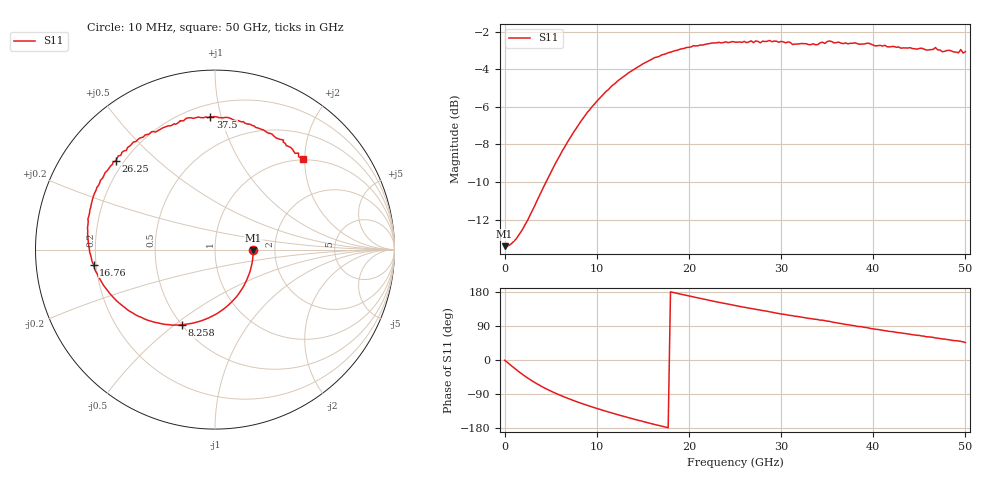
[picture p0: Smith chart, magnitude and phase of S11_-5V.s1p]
!Agilent Technologies,N5227A,US51270434,A.10.00.00
!Agilent N5227A: A.10.00.00
!Date: Thursday, February 26, 2026 12:00:48
!Correction: S11(Full 1 Port(1))
!S1P File: Measurement: S11:
# Hz S  dB  R 50
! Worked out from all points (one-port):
!   201 points, 10 MHz to 50 GHz, reference 50 ohm
!   lowest |S11| = -13.4 dB at 10 MHz (marker M1), VSWR 1.54, Z = 77.2 - j0.482 ohm
!   |S11| at or under -10 dB: start of sweep to 4.505 GHz
!   S11 on the Smith chart (normalised r, x): 10 MHz: 1.54, -0.01; 8.258 GHz: 0.50, -0.53; 16.76 GHz: 0.19, -0.06; 26.25 GHz: 0.17, +0.37; 37.5 GHz: 0.28, +0.92; 50 GHz: 0.98, +1.95
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1e7  -13.40 -0.8
1.25975e9  -13.02 -25.2
3.0094e9  -11.52 -55.3
4.75905e9  -9.74 -78.9
6.25875e9  -8.35 -95.4
8.25835e9  -6.79 -113.7
1.025795e10  -5.58 -129.7
1.25075e10  -4.54 -145.9
1.5007e10  -3.72 -162.2
1.675665e10  -3.33 -172.9
1.875625e10  -2.99 175.7
2.05059e10  -2.75 166.4
2.20056e10  -2.66 158.6
2.5005e10  -2.56 143.8
2.625475e10  -2.59 138.1
2.95041e10  -2.51 123.6
3.125375e10  -2.69 116.8
3.525295e10  -2.50 101.9
3.75025e10  -2.62 92.1
3.95021e10  -2.62 84.5
4.175165e10  -2.82 75.4
4.375125e10  -2.88 68.8
4.65007e10  -2.95 59.8
4.675065e10  -2.85 58.0
4.925015e10  -3.13 50.2
4.95001e10  -2.96 49.1
4.975005e10  -3.14 48.0
5e10  -3.07 46.0
